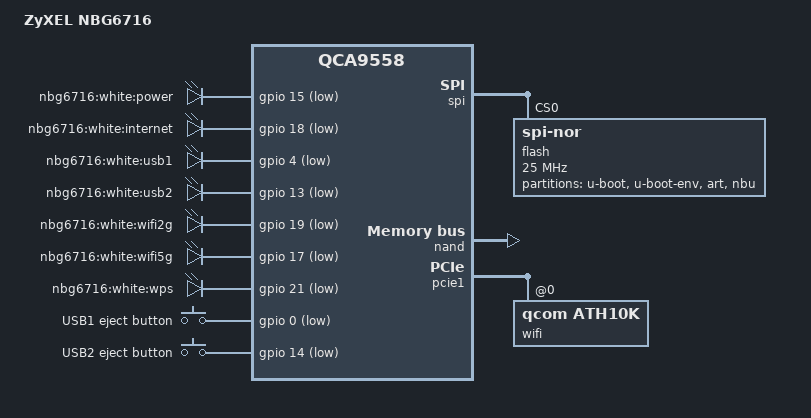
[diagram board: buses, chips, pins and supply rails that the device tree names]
// SPDX-License-Identifier: GPL-2.0-or-later OR MIT
/dts-v1/;

#include "qca955x_zyxel_nbg6x16.dtsi"

/ {
	compatible = "zyxel,nbg6716", "qca,qca9558";
	model = "ZyXEL NBG6716";

	aliases {
		led-boot = &led_power;
		led-failsafe = &led_power;
		led-running = &led_power;
		led-upgrade = &led_power;
	};

	leds {
		compatible = "gpio-leds";

		led_power: power {
			label = "nbg6716:white:power";
			gpios = <&gpio 15 GPIO_ACTIVE_LOW>;
		};

		internet {
			label = "nbg6716:white:internet";
			gpios = <&gpio 18 GPIO_ACTIVE_LOW>;
		};

		usb1 {
			label = "nbg6716:white:usb1";
			gpios = <&gpio 4 GPIO_ACTIVE_LOW>;
			linux,default-trigger = "usbport";
			trigger-sources = <&hub_port1>;
		};

		usb2 {
			label = "nbg6716:white:usb2";
			gpios = <&gpio 13 GPIO_ACTIVE_LOW>;
			linux,default-trigger = "usbport";
			trigger-sources = <&hub_port0>;
		};

		wifi2g {
			label = "nbg6716:white:wifi2g";
			gpios = <&gpio 19 GPIO_ACTIVE_LOW>;
			linux,default-trigger = "phy1tpt";
		};

		wifi5g {
			label = "nbg6716:white:wifi5g";
			gpios = <&gpio 17 GPIO_ACTIVE_LOW>;
			linux,default-trigger = "phy0tpt";
		};

		wps {
			label = "nbg6716:white:wps";
			gpios = <&gpio 21 GPIO_ACTIVE_LOW>;
		};
	};
};

&keys {
	usb1 {
		label = "USB1 eject button";
		linux,code = <BTN_1>;
		gpios = <&gpio 0 GPIO_ACTIVE_LOW>;
		debounce-interval = <60>;
	};

	usb2 {
		label = "USB2 eject button";
		linux,code = <BTN_2>;
		gpios = <&gpio 14 GPIO_ACTIVE_LOW>;
		debounce-interval = <60>;
	};
};

&gpio_usb_power {
	line-name = "nbg6716:power:usb";
};

&spi {
	status = "okay";

	num-cs = <1>;

	flash@0 {
		compatible = "jedec,spi-nor";
		reg = <0>;
		spi-max-frequency = <25000000>;

		partitions {
			compatible = "fixed-partitions";
			#address-cells = <1>;
			#size-cells = <1>;

			uboot: partition@0 {
				label = "u-boot";
				reg = <0x000000 0x040000>;
				read-only;
			};

			uboot_env: partition@40000 {
				label = "u-boot-env";
				reg = <0x040000 0x010000>;
			};

			art: partition@50000 {
				label = "art";
				reg = <0x050000 0x010000>;
				read-only;
			};

			partition@60000 {
				label = "nbu";
				reg = <0x060000 0xfa0000>;
			};
		};
	};
};

&nand {
	status = "okay";

	partitions {
		compatible = "fixed-partitions";
		#address-cells = <1>;
		#size-cells = <1>;

		partition@0 {
			label = "zyxel_rfsd";
			reg = <0x0 0x200000>;
		};

		partition@200000 {
			label = "romd";
			reg = <0x200000 0x200000>;
		};

		partition@400000 {
			label = "header";
			reg = <0x400000 0x100000>;
		};

		firmware@500000 {
			label = "firmware";
			reg = <0x500000 0x7b00000>;
		};

		partition@500000 {
			label = "kernel";
			reg = <0x500000 0x400000>;
		};

		partition@900000 {
			label = "ubi";
			reg = <0x900000 0x7700000>;
		};
	};
};

&pcie1 {
	status = "okay";

	wifi@0,0 {
		compatible = "qcom,ath10k";
		reg = <0 0 0 0 0>;
		qcom,ath10k-calibration-variant = "ZyXEL-NBG6716";
	};
};
